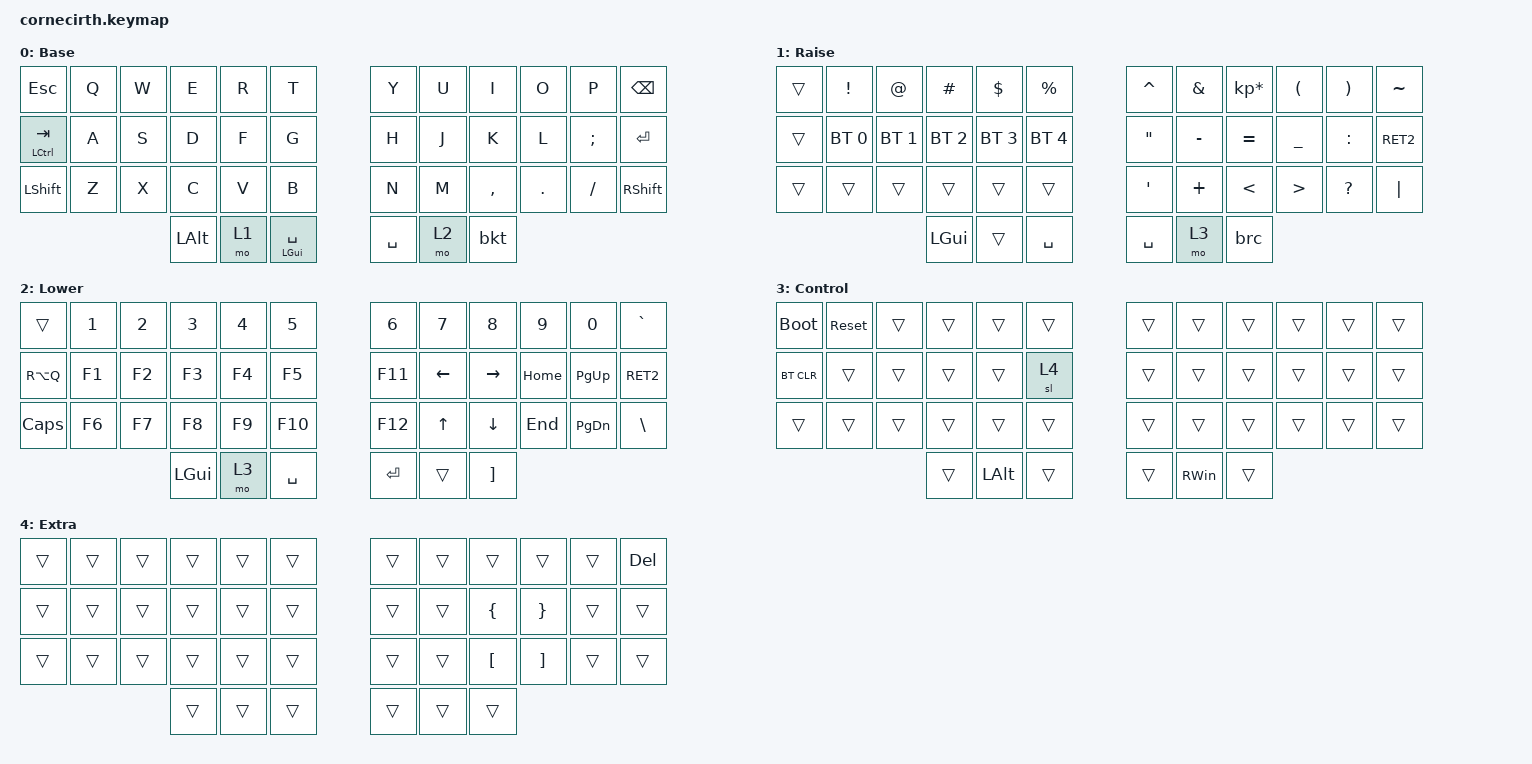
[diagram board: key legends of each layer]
/*
 * Copyright (c) 2020 The ZMK Contributors
 *
 * SPDX-License-Identifier: MIT
 */

#include <behaviors.dtsi>
#include <dt-bindings/zmk/bt.h>
#include <dt-bindings/zmk/keys.h>
#include <dt-bindings/zmk/keys.h>
#include <dt-bindings/zmk/outputs.h>

/ {

    behaviors {
        bkt: brackets {
            compatible = "zmk,behavior-tap-dance";
            label = "Brackets";
            #binding-cells = <0>;
            tapping-term-ms = <200>;
            bindings = <&lt 4 LBKT>, <&kp RBKT>;
        };
        brc: braces {
            compatible = "zmk,behavior-tap-dance";
            label = "Braces";
            #binding-cells = <0>;
            tapping-term-ms = <200>;
            bindings = <&kp LBRC>, <&kp RBRC>;
        };
    };



    macros {
    };

    keymap {
        compatible = "zmk,keymap";

        Base {
            // -----------------------------------------------------------------------------------------
            // | ESC  |  Q  |  W  |  E  |  R  |  T  |   |  Y  |  U   |  I  |  O  |  P  | BKSP |
            // | CTRL |  A  |  S  |  D  |  F  |  G  |   |  H  |  J   |  K  |  L  |  ;  | RET  |
            // | SHFT |  Z  |  X  |  C  |  V  |  B  |   |  N  |  M   |  ,  |  .  |  /  | SHFT |
            //                    | ALT | RSE | SPC |   | SPC | LWR  |  [  |

            label = "Base";
            bindings = <
  &kp ESC        &kp Q  &kp W      &kp E  &kp R      &kp T      &kp Y  &kp U      &kp I      &kp O    &kp P     &kp BSPC
  &mt LCTRL TAB  &kp A  &kp S      &kp D  &kp F      &kp G      &kp H  &kp J      &kp K      &kp L    &kp SEMI  &kp RET
  &kp LSHFT      &kp Z  &kp X      &kp C  &kp V      &kp B      &kp N  &kp M      &kp COMMA  &kp DOT  &kp SLASH &kp RSHIFT
                         &kp LALT  &mo 1  &mt LGUI SPACE   &kp SPACE  &mo 2   &bkt
            >;
        };
 
        Raise {
            // -----------------------------------------------------------------------------------------
            // |      |  !  |  @  |  #  |  $  |  %  |   |  ^  |  &  |  *  |  (  |  )  | ~ |
            // |      | BT1 | BT2 | BT3 | BT4 | BT5 |   |  "  |  -  |  =  |  _  |  :  |   |
            // | SHFT |     |     |     |     |     |   |  '  |  +  |  <  |  >  |  ?  | | | ,
            //                     | GUI |     | SPC |   | ENT |  L3 |  { |

            label = "Raise";
            bindings = <
&trans &kp EXCL     &kp AT       &kp HASH     &kp DLLR      &kp PRCNT     &kp CARET  &kp AMPS  &kp KP_MULTIPLY  &kp LPAR  &kp RPAR &kp TILDE
&trans &bt BT_SEL 0 &bt BT_SEL 1 &bt BT_SEL 2 &bt BT_SEL 3  &bt BT_SEL 4  &kp DQT    &kp MINUS &kp EQUAL        &kp UNDER &kp COLON &kp RET2
&trans &trans       &trans       &trans       &trans        &trans        &kp SQT    &kp PLUS  &kp LT           &kp GT    &kp QMARK &kp PIPE
                                   &kp LGUI   &trans  &kp SPACE   &kp SPACE &mo 3   &brc
            >;
        };

        Lower {
            // -----------------------------------------------------------------------------------------
            // |      |  1  |  2  |  3  |  4  |  5   |   |  6  |  7    |  8    |  9    |  0   |  `   |
            // | RA(Q)|  F1 |  F2 |  F3 |  F4 |  F5  |   | F11 |  LEFT | RIGHT |  HOME | PGUP |	 RET |
            // | CAPS |  F6 |  F7 |  F8 |  F9 |  F10 |   | F12 |   UP  | DOWN  |  END  | PGDN |   \  | 
            //                    | GUI |  L3 |  SPC |   | ENT |       |  |

            label = "Lower";
            bindings = <
&trans    &kp N1 &kp N2 &kp N3 &kp N4  &kp N5  &kp N6   &kp N7   &kp N8    &kp N9   &kp N0    &kp GRAVE
&kp RA(Q) &kp F1 &kp F2 &kp F3 &kp F4  &kp F5  &kp F11  &kp LEFT &kp RIGHT &kp HOME &kp PG_UP &kp RET2 
&kp CAPS  &kp F6 &kp F7 &kp F8 &kp F9  &kp F10 &kp F12  &kp UP   &kp DOWN  &kp END  &kp PG_DN &kp BACKSLASH
                          &kp LGUI &mo 3  &kp SPACE     &kp RET  &trans &kp RBKT
            >;
        };

        Control {
            label = "Control";
            bindings = <
&bootloader  &sys_reset  &trans  &trans   &trans  &trans    &trans     &trans  &trans  &trans  &trans  &trans
&bt BT_CLR   &trans      &trans  &trans   &trans  &sl 4     &trans     &trans  &trans  &trans  &trans  &trans
&trans  &trans  &trans  &trans        &trans  &trans    &trans         &trans  &trans  &trans  &trans  &trans
                        &trans  &kp LEFT_ALT  &trans    &trans  &kp RIGHT_WIN  &trans
            >;
        };

        Extra {
            label = "Extra";
            bindings = <
 &trans &trans &trans &trans &trans &trans &trans &trans &trans   &trans   &trans &kp DEL
 &trans &trans &trans &trans &trans &trans &trans &trans &kp LBRC &kp RBRC &trans &trans
 &trans &trans &trans &trans &trans &trans &trans &trans &kp LBKT &kp RBKT &trans &trans
              &trans      &trans  &trans         &trans    &trans   &trans
            >;
        };
    };
};

&nice_view_spi {
        cs-gpios = <&pro_micro 1 GPIO_ACTIVE_HIGH>;
};
